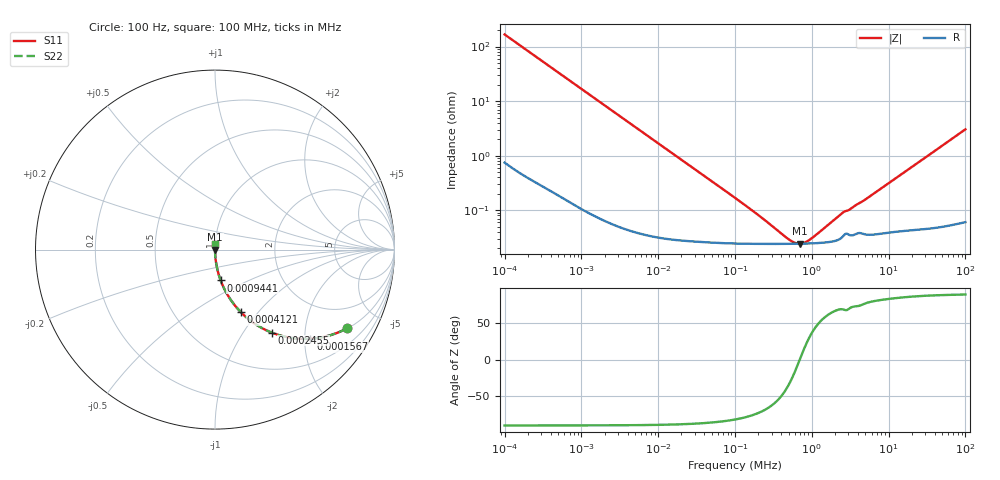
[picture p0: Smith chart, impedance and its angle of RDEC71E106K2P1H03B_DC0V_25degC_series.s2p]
!Murata Part Number: RDEC71E106K2P1H03B
!These Parameters are Measured in Series Mode Connection
!  o--ll--o
!Port1  Port2
!  o------o
!Operation Temp=25[degC], DC Bias Voltage=0[V]
!Freq. Start=100[Hz] Stop=100[MHz], 401[Steps]
!Data Generated on Dec 23, 2019
# Hz S RI R 50
!Freq.(Hz) S11(Real) S11(Imag) S21(Real) S21(Imag) S12(Real) S12(Imag) S22(Real) S22(Imag)
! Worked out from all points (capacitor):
!   401 points, 100 Hz to 100 MHz, reference 50 ohm
!   read as one part in series: C = 9.54 uF near 107.2 Hz
!   lowest |Z| = 24.3 mohm at 691.8 kHz (marker M1)
!   series resonance near 696 kHz, so ESL is about 5.5 nH
!   S11 on the Smith chart (normalised r, x): 100 Hz: 1.01, -3.33; 156.7 Hz: 1.01, -2.13; 245.5 Hz: 1.01, -1.36; 412.1 Hz: 1.00, -0.81; 944.1 Hz: 1.00, -0.36; 100 MHz: 1.00, +0.06
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100  0.7343 -0.4395  0.2657 0.4395  0.2657 0.4395  0.7343 -0.4395
156.6751  0.5312 -0.4968  0.4688 0.4968  0.4688 0.4968  0.5312 -0.4968
192.7525  0.4289 -0.4926  0.5711 0.4926  0.5711 0.4926  0.4289 -0.4926
245.4709  0.3173 -0.463  0.6827 0.463  0.6827 0.463  0.3173 -0.463
323.5937  0.2118 -0.4061  0.7882 0.4061  0.7882 0.4061  0.2118 -0.4061
412.0975  0.1428 -0.3472  0.8572 0.3472  0.8572 0.3472  0.1428 -0.3472
602.5596  0.073 -0.2573  0.927 0.2573  0.927 0.2573  0.073 -0.2573
944.0609  0.0316 -0.1719  0.9684 0.1719  0.9684 0.1719  0.0316 -0.1719
1011.579  0.0277 -0.1611  0.9723 0.1611  0.9723 0.1611  0.0277 -0.1611
2660.725  0.00451 -0.0629  0.9955 0.0629  0.9955 0.0629  0.00451 -0.0629
10232.93  0.000584 -0.0165  0.9994 0.0165  0.9994 0.0165  0.000584 -0.0165
100000  0.000247 -0.00167  0.9998 0.00167  0.9998 0.00167  0.000247 -0.00167
213796.2  0.000241 -0.000721  0.9998 0.000721  0.9998 0.000721  0.000241 -0.000721
489778.8  0.000241 -0.000175  0.9998 0.000175  0.9998 0.000175  0.000241 -0.000175
582103.2  0.000242 -8.79e-05  0.9998 8.79e-05  0.9998 8.79e-05  0.000242 -8.79e-05
691831  0.000242 -2.88e-06  0.9998 2.88e-06  0.9998 2.88e-06  0.000242 -2.88e-06
822242.6  0.000244 8.21e-05  0.9998 -8.21e-05  0.9998 -8.21e-05  0.000244 8.21e-05
1011579  0.000246 0.000188  0.9998 -0.000188  0.9998 -0.000188  0.000246 0.000188
2483133  0.000319 0.000821  0.9997 -0.000821  0.9997 -0.000821  0.000319 0.000821
4786301  0.000366 0.00147  0.9996 -0.00147  0.9996 -0.00147  0.000366 0.00147
1.023293e7  0.000399 0.00317  0.9996 -0.00317  0.9996 -0.00317  0.000399 0.00317
1e8  0.00152 0.0303  0.9985 -0.0303  0.9985 -0.0303  0.00152 0.0303
